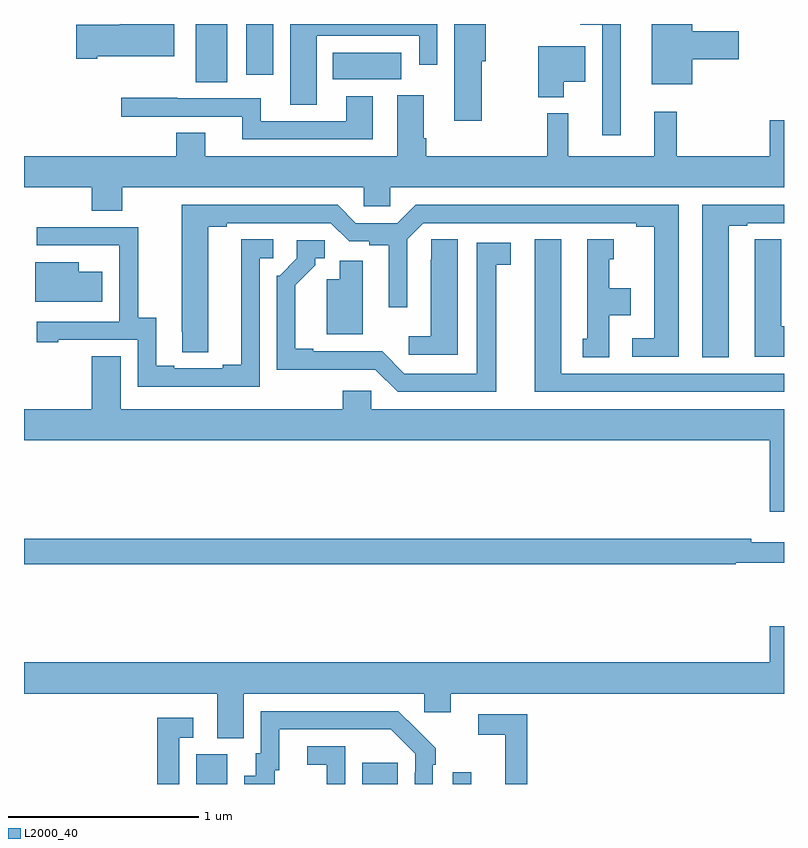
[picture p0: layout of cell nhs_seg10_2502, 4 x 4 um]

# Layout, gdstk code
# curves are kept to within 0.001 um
import gdstk
lib = gdstk.Library(unit=1e-6, precision=1e-09)
def R(c, l, rs):  # rectangles x0, y0, x1, y1
    for r in rs: c.add(gdstk.rectangle(r[:2], r[2:], *l))
def P(c, l, *ps):  # polygons
    for p in ps: c.add(gdstk.Polygon(p, *l))
L2000_40 = (2000, 40)

nhs_seg10_2502 = lib.new_cell('nhs_seg10_2502')
R(nhs_seg10_2502, L2000_40, [(245.906,1306.5,246.07,1306.656), (246.779,1306.5,246.967,1306.612), (247.257,1306.5,247.353,1306.561), (245.903,1310.194,246.07,1310.5), (246.626,1310.21,246.985,1310.35), (246.17,1310.232,246.313,1310.5)])
P(nhs_seg10_2502, L2000_40, [(245.386,1310.33),(245.791,1310.33),(245.791,1310.5),(245.504,1310.5),(245.504,1310.496),(245.274,1310.496),(245.274,1310.318),(245.386,1310.318)],
  [(246.541,1310.438),(247.08,1310.438),(247.08,1310.286),(247.176,1310.286),(247.176,1310.5),(246.401,1310.5),(246.401,1310.074),(246.541,1310.074)],
  [(248.14,1310.5),(247.928,1310.5),(247.928,1310.495),(248.043,1310.495),(248.043,1309.914),(248.14,1309.914)],
  [(248.518,1310.315),(248.761,1310.315),(248.761,1310.462),(248.518,1310.462),(248.518,1310.5),(248.303,1310.5),(248.303,1310.183),(248.518,1310.183)],
  [(247.41,1310.304),(247.431,1310.304),(247.431,1310.5),(247.265,1310.5),(247.265,1309.992),(247.41,1309.992)],
  [(247.84,1310.195),(247.954,1310.195),(247.954,1310.383),(247.706,1310.383),(247.706,1310.114),(247.84,1310.114)],
  [(246.835,1310.119),(246.695,1310.119),(246.695,1309.989),(246.247,1309.989),(246.247,1310.109),(245.807,1310.109),(245.807,1310.112),(245.511,1310.112),(245.511,1310.013),(246.149,1310.013),(246.149,1309.893),(246.835,1309.893)],
  [(246.965,1310.125),(246.965,1309.804),(245.953,1309.804),(245.953,1309.928),(245.801,1309.928),(245.801,1309.804),(245,1309.804),(245,1309.64),(245.357,1309.64),(245.357,1309.516),(245.517,1309.516),(245.517,1309.64),(246.789,1309.64),(246.789,1309.542),(246.927,1309.542),(246.927,1309.64),(249,1309.64),(249,1309.993),(248.924,1309.993),(248.924,1309.804),(248.435,1309.804),(248.435,1310.038),(248.318,1310.038),(248.318,1309.804),(247.865,1309.804),(247.865,1310.029),(247.755,1310.029),(247.755,1309.804),(247.118,1309.804),(247.118,1309.9),(247.105,1309.9),(247.105,1310.125)],
  [(248.71,1309.437),(248.806,1309.437),(248.806,1309.452),(249,1309.452),(249,1309.548),(248.57,1309.548),(248.57,1308.745),(248.71,1308.745)],
  [(248.446,1309.548),(247.061,1309.548),(246.965,1309.452),(246.747,1309.452),(246.651,1309.548),(245.831,1309.548),(245.832,1308.772),(245.971,1308.772),(245.971,1309.432),(246.067,1309.432),(246.067,1309.452),(246.615,1309.452),(246.711,1309.356),(246.816,1309.356),(246.816,1309.336),(246.92,1309.336),(246.92,1309.008),(247.017,1309.008),(247.017,1309.368),(247.101,1309.452),(248.222,1309.452),(248.222,1309.432),(248.318,1309.432),(248.318,1308.846),(248.202,1308.846),(248.202,1308.75),(248.446,1308.75)],
  [(246.24,1309.266),(246.313,1309.266),(246.313,1309.367),(246.143,1309.367),(246.143,1308.707),(246.047,1308.707),(246.047,1308.687),(245.791,1308.687),(245.791,1308.702),(245.695,1308.702),(245.695,1308.953),(245.601,1308.953),(245.601,1309.431),(245.067,1309.431),(245.067,1309.335),(245.501,1309.335),(245.501,1309.334),(245.502,1309.334),(245.502,1308.933),(245.067,1308.933),(245.067,1308.825),(245.179,1308.825),(245.179,1308.837),(245.598,1308.837),(245.598,1308.591),(246.24,1308.591)],
  [(247.282,1309.367),(247.143,1309.367),(247.143,1309.259),(247.142,1309.259),(247.142,1308.856),(247.026,1308.856),(247.026,1308.759),(247.282,1308.759)],
  [(249,1308.909),(248.986,1308.909),(248.986,1309.367),(248.847,1309.367),(248.847,1309.259),(248.846,1309.259),(248.846,1308.749),(249,1308.749)],
  [(249,1308.66),(247.828,1308.66),(247.828,1309.366),(247.688,1309.366),(247.688,1308.564),(249,1308.564)],
  [(248.08,1308.968),(248.194,1308.968),(248.194,1309.108),(248.08,1309.108),(248.08,1309.263),(248.104,1309.263),(248.104,1309.366),(247.964,1309.366),(247.964,1308.843),(247.94,1308.843),(247.94,1308.745),(248.08,1308.745)],
  [(247.486,1309.234),(247.561,1309.234),(247.561,1309.35),(247.382,1309.35),(247.382,1308.66),(247.002,1308.66),(246.885,1308.777),(246.523,1308.777),(246.523,1308.79),(246.427,1308.79),(246.427,1309.126),(246.532,1309.231),(246.532,1309.266),(246.582,1309.266),(246.582,1309.362),(246.435,1309.362),(246.435,1309.266),(246.345,1309.176),(246.33,1309.176),(246.33,1308.68),(246.849,1308.681),(246.966,1308.564),(247.486,1308.564)],
  [(246.784,1309.254),(246.662,1309.254),(246.662,1309.156),(246.593,1309.156),(246.593,1308.866),(246.784,1308.866)],
  [(245.413,1309.195),(245.287,1309.195),(245.287,1309.246),(245.06,1309.246),(245.06,1309.037),(245.413,1309.037)],
  [(249,1308.472),(246.828,1308.472),(246.828,1308.57),(246.677,1308.57),(246.677,1308.472),(245.509,1308.472),(245.509,1308.752),(245.357,1308.752),(245.357,1308.472),(245,1308.472),(245,1308.308),(248.924,1308.308),(248.924,1307.934),(249,1307.934)],
  [(248.745,1307.664),(249,1307.664),(249,1307.773),(248.828,1307.773),(248.828,1307.792),(245,1307.792),(245,1307.656),(248.745,1307.656)],
  [(246.157,1306.976),(247.107,1306.976),(247.107,1306.878),(247.246,1306.878),(247.246,1306.976),(249,1306.976),(249,1307.329),(248.924,1307.329),(248.924,1307.14),(245,1307.14),(245,1306.976),(246.017,1306.976),(246.017,1306.741),(246.157,1306.741)],
  [(246.319,1306.572),(246.343,1306.572),(246.343,1306.788),(246.931,1306.788),(247.059,1306.659),(247.059,1306.559),(247.056,1306.559),(247.056,1306.5),(247.152,1306.5),(247.152,1306.601),(247.167,1306.601),(247.167,1306.689),(246.97,1306.884),(246.246,1306.884),(246.246,1306.662),(246.221,1306.662),(246.221,1306.543),(246.158,1306.543),(246.158,1306.5),(246.319,1306.5)],
  [(247.649,1306.866),(247.392,1306.866),(247.392,1306.758),(247.532,1306.758),(247.532,1306.5),(247.649,1306.5)],
  [(245.817,1306.743),(245.89,1306.743),(245.89,1306.849),(245.701,1306.849),(245.701,1306.5),(245.817,1306.5)],
  [(246.69,1306.698),(246.492,1306.698),(246.492,1306.602),(246.594,1306.602),(246.594,1306.5),(246.69,1306.5)])

lib.write_gds('nhs_seg10_2502.gds')
